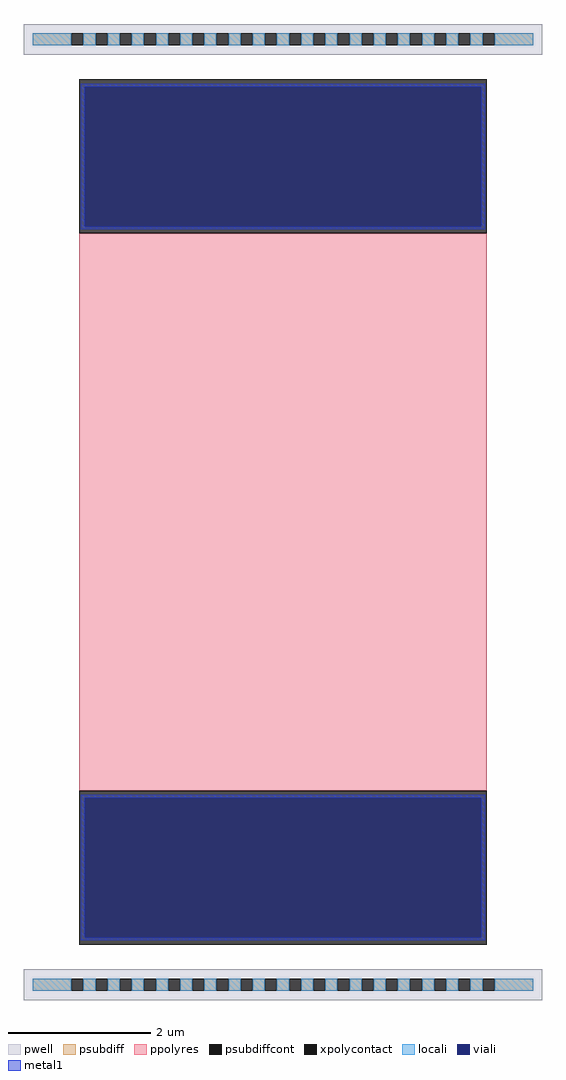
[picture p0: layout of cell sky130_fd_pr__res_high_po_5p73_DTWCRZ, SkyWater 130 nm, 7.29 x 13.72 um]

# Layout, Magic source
magic
tech sky130A
magscale 1 2
<< pwell >>
rect -729 1286 729 1372
rect -729 -1372 729 -1286
<< psubdiff >>
rect -703 1312 -595 1346
rect -561 1312 -527 1346
rect -493 1312 -459 1346
rect -425 1312 -391 1346
rect -357 1312 -323 1346
rect -289 1312 -255 1346
rect -221 1312 -187 1346
rect -153 1312 -119 1346
rect -85 1312 -51 1346
rect -17 1312 17 1346
rect 51 1312 85 1346
rect 119 1312 153 1346
rect 187 1312 221 1346
rect 255 1312 289 1346
rect 323 1312 357 1346
rect 391 1312 425 1346
rect 459 1312 493 1346
rect 527 1312 561 1346
rect 595 1312 703 1346
rect -703 -1346 -595 -1312
rect -561 -1346 -527 -1312
rect -493 -1346 -459 -1312
rect -425 -1346 -391 -1312
rect -357 -1346 -323 -1312
rect -289 -1346 -255 -1312
rect -221 -1346 -187 -1312
rect -153 -1346 -119 -1312
rect -85 -1346 -51 -1312
rect -17 -1346 17 -1312
rect 51 -1346 85 -1312
rect 119 -1346 153 -1312
rect 187 -1346 221 -1312
rect 255 -1346 289 -1312
rect 323 -1346 357 -1312
rect 391 -1346 425 -1312
rect 459 -1346 493 -1312
rect 527 -1346 561 -1312
rect 595 -1346 703 -1312
<< psubdiffcont >>
rect -595 1312 -561 1346
rect -527 1312 -493 1346
rect -459 1312 -425 1346
rect -391 1312 -357 1346
rect -323 1312 -289 1346
rect -255 1312 -221 1346
rect -187 1312 -153 1346
rect -119 1312 -85 1346
rect -51 1312 -17 1346
rect 17 1312 51 1346
rect 85 1312 119 1346
rect 153 1312 187 1346
rect 221 1312 255 1346
rect 289 1312 323 1346
rect 357 1312 391 1346
rect 425 1312 459 1346
rect 493 1312 527 1346
rect 561 1312 595 1346
rect -595 -1346 -561 -1312
rect -527 -1346 -493 -1312
rect -459 -1346 -425 -1312
rect -391 -1346 -357 -1312
rect -323 -1346 -289 -1312
rect -255 -1346 -221 -1312
rect -187 -1346 -153 -1312
rect -119 -1346 -85 -1312
rect -51 -1346 -17 -1312
rect 17 -1346 51 -1312
rect 85 -1346 119 -1312
rect 153 -1346 187 -1312
rect 221 -1346 255 -1312
rect 289 -1346 323 -1312
rect 357 -1346 391 -1312
rect 425 -1346 459 -1312
rect 493 -1346 527 -1312
rect 561 -1346 595 -1312
<< xpolycontact >>
rect -573 784 573 1216
rect -573 -1216 573 -784
<< ppolyres >>
rect -573 -784 573 784
<< locali >>
rect -703 1312 -595 1346
rect -561 1312 -527 1346
rect -493 1312 -459 1346
rect -425 1312 -391 1346
rect -357 1312 -323 1346
rect -289 1312 -255 1346
rect -221 1312 -187 1346
rect -153 1312 -119 1346
rect -85 1312 -51 1346
rect -17 1312 17 1346
rect 51 1312 85 1346
rect 119 1312 153 1346
rect 187 1312 221 1346
rect 255 1312 289 1346
rect 323 1312 357 1346
rect 391 1312 425 1346
rect 459 1312 493 1346
rect 527 1312 561 1346
rect 595 1312 703 1346
rect -703 -1346 -595 -1312
rect -561 -1346 -527 -1312
rect -493 -1346 -459 -1312
rect -425 -1346 -391 -1312
rect -357 -1346 -323 -1312
rect -289 -1346 -255 -1312
rect -221 -1346 -187 -1312
rect -153 -1346 -119 -1312
rect -85 -1346 -51 -1312
rect -17 -1346 17 -1312
rect 51 -1346 85 -1312
rect 119 -1346 153 -1312
rect 187 -1346 221 -1312
rect 255 -1346 289 -1312
rect 323 -1346 357 -1312
rect 391 -1346 425 -1312
rect 459 -1346 493 -1312
rect 527 -1346 561 -1312
rect 595 -1346 703 -1312
<< viali >>
rect -557 802 557 1196
rect -557 -1197 557 -803
<< metal1 >>
rect -569 1196 569 1204
rect -569 802 -557 1196
rect 557 802 569 1196
rect -569 795 569 802
rect -569 -803 569 -795
rect -569 -1197 -557 -803
rect 557 -1197 569 -803
rect -569 -1204 569 -1197
<< properties >>
string FIXED_BBOX -686 -1329 686 1329
<< end >>
